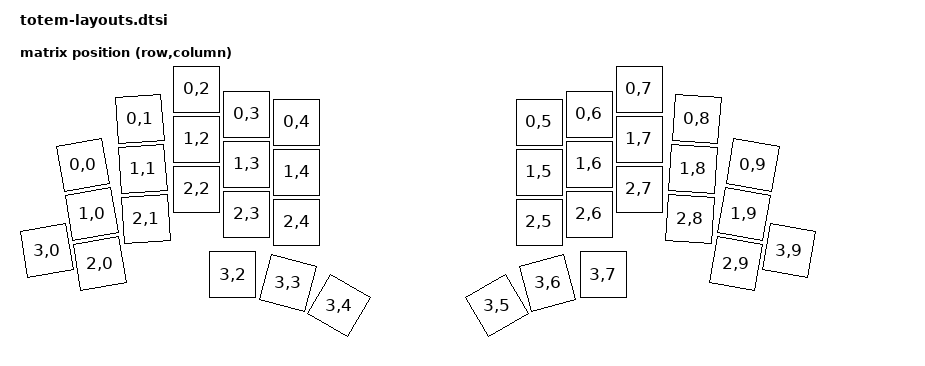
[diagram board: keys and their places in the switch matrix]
#include <dt-bindings/zmk/matrix_transform.h>
#include <physical_layouts.dtsi>

/ {
    default_transform: keymap_transform_0 {
        compatible = "zmk,matrix-transform";
        columns = <10>;
        rows = <4>;
//             | SW01  | SW02  | SW03  | SW04  | SW05  |  | SW05  | SW04  | SW03  | SW02  | SW01  |
//             | SW06  | SW07  | SW08  | SW09  | SW10  |  | SW10  | SW09  | SW08  | SW07  | SW06  |
//      | SW16 | SW11  | SW12  | SW13  | SW14  | SW15  |  | SW15  | SW14  | SW13  | SW12  | SW11  | SW16  |
//                             | SW17  | SW18  | SW19  |  | SW19  | SW18  | SW17  |
        map = <
                RC(0,0) RC(0,1) RC(0,2) RC(0,3) RC(0,4)    RC(0,5) RC(0,6) RC(0,7) RC(0,8) RC(0,9)
                RC(1,0) RC(1,1) RC(1,2) RC(1,3) RC(1,4)    RC(1,5) RC(1,6) RC(1,7) RC(1,8) RC(1,9)
        RC(3,0) RC(2,0) RC(2,1) RC(2,2) RC(2,3) RC(2,4)    RC(2,5) RC(2,6) RC(2,7) RC(2,8) RC(2,9) RC(3,9)
                                RC(3,2) RC(3,3) RC(3,4)    RC(3,5) RC(3,6) RC(3,7)
        >;
    };
    physical_layout0: physical_layout_0 {
        compatible = "zmk,physical-layout";
        display-name = "Default";

        transform = <&default_transform>;

        keys  //                     w   h    x    y     rot    rx    ry
            = <&key_physical_attrs 100 100   73  152 (-1000)   123   202>
            , <&key_physical_attrs 100 100  186   60  (-400)   236   110>
            , <&key_physical_attrs 100 100  300    0       0     0     0>
            , <&key_physical_attrs 100 100  400   50       0     0     0>
            , <&key_physical_attrs 100 100  500   66       0     0     0>
            , <&key_physical_attrs 100 100  985   66       0     0     0>
            , <&key_physical_attrs 100 100 1085   50       0     0     0>
            , <&key_physical_attrs 100 100 1185    0       0     0     0>
            , <&key_physical_attrs 100 100 1300   60     400  1350   110>
            , <&key_physical_attrs 100 100 1412  152    1000  1462   202>
            , <&key_physical_attrs 100 100   90  250 (-1000)   140   300>
            , <&key_physical_attrs 100 100  192  160  (-400)   242   210>
            , <&key_physical_attrs 100 100  300  100       0     0     0>
            , <&key_physical_attrs 100 100  400  150       0     0     0>
            , <&key_physical_attrs 100 100  500  166       0     0     0>
            , <&key_physical_attrs 100 100  985  166       0     0     0>
            , <&key_physical_attrs 100 100 1085  150       0     0     0>
            , <&key_physical_attrs 100 100 1185  100       0     0     0>
            , <&key_physical_attrs 100 100 1293  160     400  1343   210>
            , <&key_physical_attrs 100 100 1395  250    1000  1445   300>
            , <&key_physical_attrs 100 100    0  323 (-1000)    50   373>
            , <&key_physical_attrs 100 100  106  349 (-1000)   156   399>
            , <&key_physical_attrs 100 100  199  260  (-400)   249   310>
            , <&key_physical_attrs 100 100  300  200       0     0     0>
            , <&key_physical_attrs 100 100  400  250       0     0     0>
            , <&key_physical_attrs 100 100  500  266       0     0     0>
            , <&key_physical_attrs 100 100  985  266       0     0     0>
            , <&key_physical_attrs 100 100 1085  250       0     0     0>
            , <&key_physical_attrs 100 100 1185  200       0     0     0>
            , <&key_physical_attrs 100 100 1287  260     400  1337   310>
            , <&key_physical_attrs 100 100 1379  349    1000  1429   399>
            , <&key_physical_attrs 100 100 1485  323    1000  1535   373>
            , <&key_physical_attrs 100 100  372  371       0     0     0>
            , <&key_physical_attrs 100 100  483  388    1500   533   438>
            , <&key_physical_attrs 100 100  585  433    3000   635   483>
            , <&key_physical_attrs 100 100  900  433 (-3000)   950   483>
            , <&key_physical_attrs 100 100 1002  388 (-1500)  1052   438>
            , <&key_physical_attrs 100 100 1113  371       0     0     0>
            ;
    };
};
